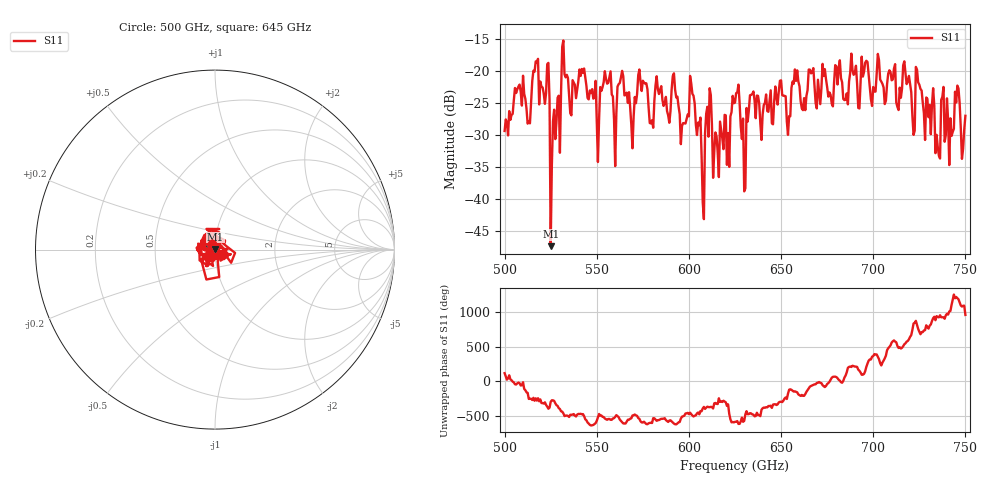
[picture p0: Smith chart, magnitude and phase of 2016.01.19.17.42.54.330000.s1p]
!Created with skrf (http://scikit-rf.org).
# GHz S RI R 50.0
!freq ReS11 ImS11
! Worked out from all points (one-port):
!   401 points, 500 GHz to 750 GHz, reference 50 ohm
!   lowest |S11| = -47.3 dB at 525 GHz (marker M1), VSWR 1.01, Z = 50.2 + j0.375 ohm
!   |S11| at or under -10 dB: start of sweep to end of sweep
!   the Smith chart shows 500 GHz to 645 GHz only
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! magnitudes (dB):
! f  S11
! 500 GHz  -29.3
! 506.9 GHz  -22.8
! 513.1 GHz  -27.8
! 516.9 GHz  -18.5
! 523.1 GHz  -18.9
! 525 GHz  -47.3
! 531.2 GHz  -16.2
! 551.2 GHz  -27.6
! 556.2 GHz  -21.8
! 559.4 GHz  -27.5
! 562.5 GHz  -21.9
! 569.4 GHz  -32.0
! 573.8 GHz  -21.7
! 579.4 GHz  -28.2
! 593.8 GHz  -24.0
! 601.9 GHz  -23.5
! 607.5 GHz  -40.5
! 610.6 GHz  -30.2
! 615 GHz  -30.2
! 625 GHz  -24.9
! 629.4 GHz  -27.4
! 634.4 GHz  -23.6
! 656.2 GHz  -21.6
! 687.5 GHz  -20.3
! 718.8 GHz  -21.6
! 735 GHz  -31.8
! 745.6 GHz  -22.3
! 750 GHz  -27.0
